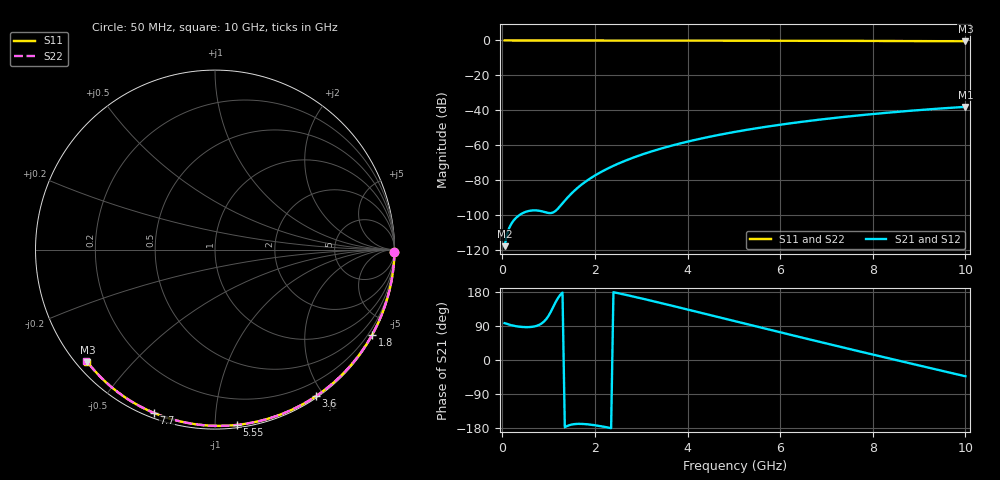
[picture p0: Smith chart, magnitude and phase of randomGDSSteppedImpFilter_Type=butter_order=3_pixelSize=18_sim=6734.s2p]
! freq	dB(S11)	phase(S11)	dB(S12)	phase(S12)
!  dB(S21)	phase(S21)	dB(S22)	phase(S22)
!S-par simulation data
#  GHz  S  DB  R 50
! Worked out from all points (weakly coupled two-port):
!   200 points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, 50 MHz to 10 GHz, reference 50 ohm
!   highest |S21| = -37.98 dB at 10 GHz (marker M1); lowest = -117.7 dB at 50 MHz (marker M2)
!   lowest |S11| = -0.5 dB at 10 GHz (marker M3), VSWR 37.13, Z = 1.54 - j18.9 ohm
!   |S11| at or under -10 dB: nowhere
!   |S22| runs from -0.5 to 0.0 dB; largest |S21 - S12| = 0
!   S11 on the Smith chart (normalised r, x): 50 MHz: open; 1.8 GHz: 0.03, -3.95; 3.6 GHz: 0.02, -1.90; 5.55 GHz: 0.02, -1.13; 7.7 GHz: 0.02, -0.69; 10 GHz: 0.03, -0.38
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0.05  -0.00 -0.8  -117.67 97.2  -117.67 97.2  -0.00 -0.8
0.45  -0.01 -7.2  -98.64 87.0  -98.64 87.0  -0.01 -7.2
0.9  -0.02 -14.3  -98.06 101.4  -98.06 101.4  -0.02 -14.4
1.75  -0.04 -27.6  -81.69 -168.8  -81.69 -168.8  -0.04 -27.8
1.8  -0.04 -28.4  -80.71 -169.3  -80.71 -169.3  -0.04 -28.5
1.85  -0.04 -29.2  -79.79 -169.8  -79.79 -169.8  -0.04 -29.3
2  -0.04 -31.5  -77.26 -172.2  -77.26 -172.2  -0.04 -31.6
2.15  -0.04 -33.8  -74.99 -175.2  -74.99 -175.2  -0.04 -33.9
2.35  -0.05 -36.9  -72.31 -179.8  -72.31 -179.8  -0.05 -37.0
2.55  -0.05 -39.9  -69.94 175.1  -69.94 175.1  -0.05 -40.1
2.95  -0.06 -45.9  -65.86 164.1  -65.86 164.1  -0.06 -46.1
3.4  -0.07 -52.6  -62.06 151.1  -62.06 151.1  -0.07 -52.8
3.6  -0.07 -55.5  -60.57 145.2  -60.57 145.2  -0.08 -55.7
4.3  -0.09 -65.6  -56.07 124.2  -56.07 124.2  -0.09 -65.8
5.05  -0.12 -76.0  -52.18 101.7  -52.18 101.7  -0.12 -76.3
5.55  -0.14 -82.8  -49.97 86.6  -49.97 86.6  -0.14 -83.1
6.1  -0.16 -90.1  -47.83 70.2  -47.83 70.2  -0.16 -90.5
6.7  -0.19 -97.9  -45.77 52.4  -45.77 52.4  -0.19 -98.3
7.7  -0.25 -110.6  -42.86 23.1  -42.86 23.1  -0.25 -111.0
8.35  -0.30 -118.6  -41.25 4.3  -41.25 4.3  -0.31 -119.0
9.2  -0.38 -129.0  -39.42 -20.1  -39.42 -20.1  -0.38 -129.4
10  -0.47 -138.7  -37.98 -43.0  -37.98 -43.0  -0.47 -139.1
